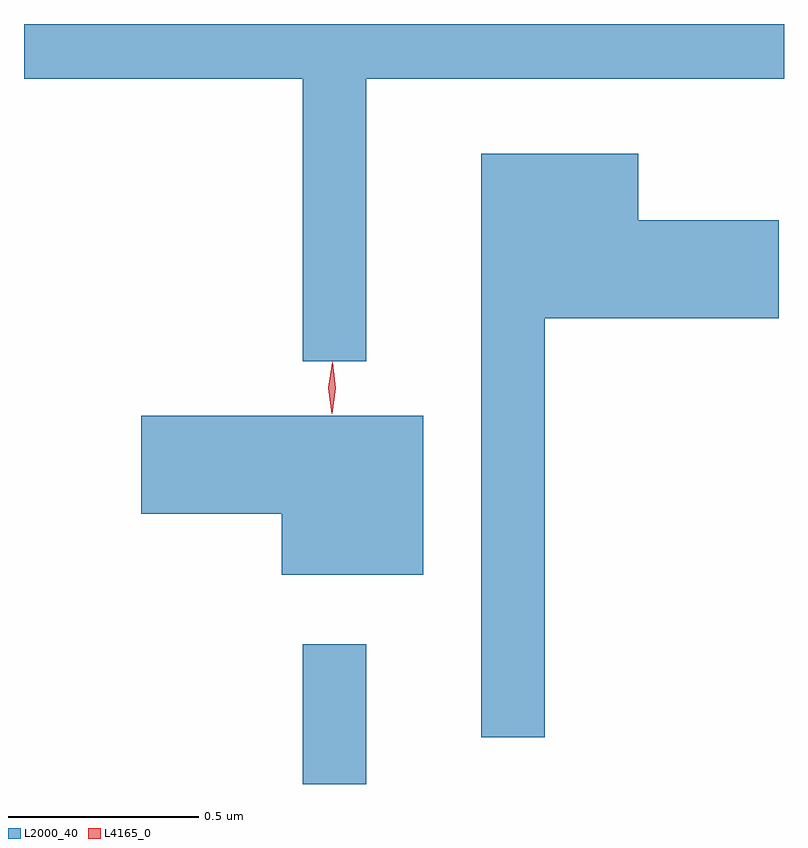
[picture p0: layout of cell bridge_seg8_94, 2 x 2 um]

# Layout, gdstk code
import gdstk
lib = gdstk.Library(unit=1e-6, precision=1e-09)
def R(c, l, rs):  # rectangles x0, y0, x1, y1
    for r in rs: c.add(gdstk.rectangle(r[:2], r[2:], *l))
def P(c, l, *ps):  # polygons
    for p in ps: c.add(gdstk.Polygon(p, *l))
L2000_40 = (2000, 40)
L4165_0 = (4165, 0)

bridge_seg8_94 = lib.new_cell('bridge_seg8_94')
R(bridge_seg8_94, L2000_40, [(1601.371,1854.54,1601.539,1854.908)])
P(bridge_seg8_94, L2000_40, [(1601.539,1856.396),(1602.638,1856.396),(1602.638,1856.54),(1600.638,1856.54),(1600.638,1856.396),(1601.371,1856.396),(1601.371,1855.653),(1601.539,1855.653)],
  [(1602.009,1855.766),(1602.624,1855.766),(1602.624,1856.024),(1602.254,1856.024),(1602.254,1856.199),(1601.841,1856.199),(1601.841,1854.663),(1602.009,1854.663)],
  [(1601.689,1855.509),(1600.946,1855.509),(1600.946,1855.251),(1601.316,1855.251),(1601.316,1855.091),(1601.689,1855.091)])
P(bridge_seg8_94, L4165_0, [(1601.448,1855.514),(1601.448,1855.514),(1601.439,1855.582),(1601.449,1855.65),(1601.45,1855.65),(1601.45,1855.65),(1601.459,1855.582),(1601.449,1855.514)],
  [(1601.448,1855.52),(1601.448,1855.521),(1601.439,1855.584),(1601.449,1855.646),(1601.45,1855.647),(1601.45,1855.646),(1601.459,1855.583),(1601.449,1855.521)])

lib.write_gds('bridge_seg8_94.gds')
